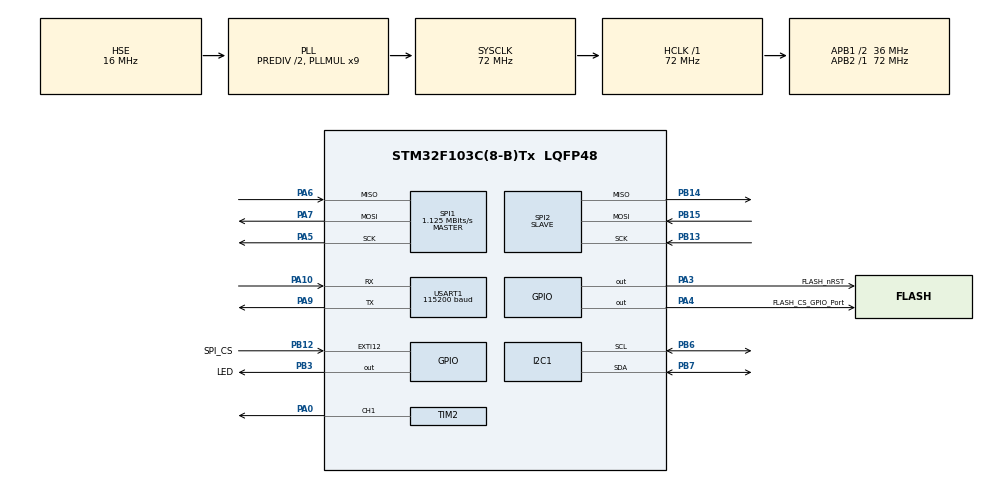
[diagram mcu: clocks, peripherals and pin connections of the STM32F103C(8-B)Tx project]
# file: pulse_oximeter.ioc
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Mcu.Family=STM32F1
Mcu.Name=STM32F103C(8-B)Tx
Mcu.Package=LQFP48
NVIC.EXTI15_10_IRQn=true\:1\:0\:true\:false\:true\:true\:true\:true
NVIC.PriorityGroup=NVIC_PRIORITYGROUP_4
NVIC.SPI2_IRQn=true\:1\:0\:true\:false\:true\:true\:true\:true
NVIC.TIM4_IRQn=true\:4\:0\:true\:false\:true\:true\:true\:true
NVIC.USART1_IRQn=true\:6\:0\:true\:false\:true\:true\:true\:true
PA0-WKUP.Signal=S_TIM2_CH1_ETR
PA10.Mode=Asynchronous
PA10.Signal=USART1_RX
PA13.Mode=Serial_Wire
PA13.Signal=SYS_JTMS-SWDIO
PA14.Mode=Serial_Wire
PA14.Signal=SYS_JTCK-SWCLK
PA3.GPIO_Label=FLASH_nRST
PA3.Signal=GPIO_Output
PA4.GPIO_Label=FLASH_CS_GPIO_Port
PA4.Signal=GPIO_Output
PA5.Mode=Full_Duplex_Master
PA5.Signal=SPI1_SCK
PA6.Mode=Full_Duplex_Master
PA6.Signal=SPI1_MISO
PA7.Mode=Full_Duplex_Master
PA7.Signal=SPI1_MOSI
PA9.Mode=Asynchronous
PA9.Signal=USART1_TX
PB12.GPIO_Label=SPI_CS
PB12.GPIO_ModeDefaultEXTI=GPIO_MODE_IT_RISING_FALLING
PB12.Signal=GPXTI12
PB13.Mode=Full_Duplex_Slave
PB13.Signal=SPI2_SCK
PB14.Mode=Full_Duplex_Slave
PB14.Signal=SPI2_MISO
PB15.Mode=Full_Duplex_Slave
PB15.Signal=SPI2_MOSI
PB3.GPIO_Label=LED
PB3.Signal=GPIO_Output
PB6.Mode=I2C
PB6.Signal=I2C1_SCL
PB7.Mode=I2C
PB7.Signal=I2C1_SDA
PD0-OSC_IN.Mode=HSE-External-Oscillator
PD0-OSC_IN.Signal=RCC_OSC_IN
PD1-OSC_OUT.Mode=HSE-External-Oscillator
PD1-OSC_OUT.Signal=RCC_OSC_OUT
ProjectManager.HeapSize=0x200
ProjectManager.StackSize=0x400
ProjectManager.TargetToolchain=STM32CubeIDE
RCC.ADCPresc=RCC_ADCPCLK2_DIV6
RCC.AHBFreq_Value=72000000
RCC.APB1CLKDivider=RCC_HCLK_DIV2
RCC.APB1Freq_Value=36000000
RCC.APB1TimFreq_Value=72000000
RCC.APB2Freq_Value=72000000
RCC.APB2TimFreq_Value=72000000
RCC.HCLKFreq_Value=72000000
RCC.HSEDivPLL=RCC_HSE_PREDIV_DIV2
RCC.HSE_VALUE=16000000
RCC.PLLMUL=RCC_PLL_MUL9
RCC.PLLSourceVirtual=RCC_PLLSOURCE_HSE
RCC.SYSCLKFreq_VALUE=72000000
RCC.SYSCLKSource=RCC_SYSCLKSOURCE_PLLCLK
RCC.USBFreq_Value=72000000
SH.S_TIM2_CH1_ETR.0=TIM2_CH1,PWM Generation1 CH1
SPI1.BaudRatePrescaler=SPI_BAUDRATEPRESCALER_64
SPI1.CalculateBaudRate=1.125 MBits/s
SPI1.Direction=SPI_DIRECTION_2LINES
SPI1.Mode=SPI_MODE_MASTER
SPI1.VirtualType=VM_MASTER
SPI2.Direction=SPI_DIRECTION_2LINES
SPI2.Mode=SPI_MODE_SLAVE
SPI2.VirtualType=VM_SLAVE
TIM2.Channel-PWM\ Generation1\ CH1=TIM_CHANNEL_1
TIM2.OCPolarity_1=TIM_OCPOLARITY_LOW
TIM2.Period=501
TIM2.Prescaler=72
TIM2.Pulse-PWM\ Generation1\ CH1=1
TIM3.Period=5
TIM3.Prescaler=48000
TIM3.TIM_MasterOutputTrigger=TIM_TRGO_OC1
TIM4.Period=20000
TIM4.Prescaler=7200
USART1.BaudRate=115200
USART1.VirtualMode=VM_ASYNC
VP_TIM2_VS_ClockSourceINT.Mode=Internal
VP_TIM2_VS_OPM.Mode=OPM_bit
VP_TIM3_VS_ClockSourceINT.Mode=Internal
VP_TIM4_VS_ClockSourceINT.Mode=Internal
board=custom

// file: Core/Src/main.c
/* USER CODE BEGIN Header */
/**
  ******************************************************************************
  * @file           : main.c
  * @brief          : Main program body
  ******************************************************************************
  * @attention
  *
  * Copyright (c) 2026 STMicroelectronics.
  * All rights reserved.
  *
  * This software is licensed under terms that can be found in the LICENSE file
  * in the root directory of this software component.
  * If no LICENSE file comes with this software, it is provided AS-IS.
  *
  ******************************************************************************
  */
/* USER CODE END Header */
#include "main.h"

/* USER CODE BEGIN Includes */
#include "spo2_algorithm.h"
#include "SPI_connection.h"
#include "protocol_parser.h"
#include "w25q_spi.h"
#include "stdio.h"
#include "Common.h"
#include <string.h>
#include <stdbool.h>
/* USER CODE END Includes */

I2C_HandleTypeDef hi2c1;

SPI_HandleTypeDef hspi1;
SPI_HandleTypeDef hspi2;

TIM_HandleTypeDef htim2;
TIM_HandleTypeDef htim3;
TIM_HandleTypeDef htim4;

UART_HandleTypeDef huart1;

/* USER CODE BEGIN PV */

uint32_t ir_out[100];	// буфер значений �?К-канала
uint32_t red_out[100];	// буфер значений канала красного светодиода
bool tim4_ovflw = 0;	// флаг переполнения таймера

int8_t cnt1,cnt2 = 0;	// счетчики вызовов (для отладки)
max30102_t max30102;	// объект структуры для работы с микросхемой

// переменные результата расчета сатурации
int8_t spo2_valid = 0, heart_rate_valid = 0; 		// признаки корректности полученных расчетов сатурации и ЧСС
int32_t buf_len = 100, spo2 = 0, heart_rate = 0; 	// значения сатурации и ЧСС

/* W25Q variables */
uint8_t data_buf[256];				// буфер с данными
volatile uint16_t page_ptr = 0;		// указатель номера страницы флеш-памяти в которую идет запись
uint8_t page_pos_ptr = 0;			// указатель позиции в странице флеш-памяти, в которую будет выполнена запись
extern w25_info_t w25_info;

/* USER CODE END PV */

void SystemClock_Config(void);
static void MX_GPIO_Init(void);
static void MX_SPI2_Init(void);
static void MX_USART1_UART_Init(void);
static void MX_SPI1_Init(void);
static void MX_TIM3_Init(void);
static void MX_I2C1_Init(void);
static void MX_TIM4_Init(void);
static void MX_TIM2_Init(void);

/* USER CODE BEGIN 0 */
void writeDataToFlash(int32_t spo2) {
	static union
	{
		uint16_t word;
		uint8_t bytes[2];
	} result_data;

	result_data.word = (uint16_t)(spo2*100.0);
	W25_Write_Page(result_data.bytes, page_ptr, page_pos_ptr*2, 2); //save 2 bytes to flash
	page_pos_ptr++;
	if (page_pos_ptr == 127) //page is full
	{
		page_ptr++;
		page_pos_ptr = 0;
	}
	HAL_GPIO_TogglePin(GPIOA, GPIO_PIN_2);
	return;
}
/* USER CODE END 0 */

int main(void)
{

  /* MCU Configuration--------------------------------------------------------*/

  /* Reset of all peripherals, Initializes the Flash interface and the Systick. */
  HAL_Init();

  /* Configure the system clock */
  SystemClock_Config();

  /* Initialize all configured peripherals */
  MX_GPIO_Init();
  MX_SPI2_Init();
  MX_USART1_UART_Init();
  MX_SPI1_Init();
  MX_TIM3_Init();
  MX_I2C1_Init();
  MX_TIM4_Init();
  MX_TIM2_Init();
  /* USER CODE BEGIN 2 */

  sensorInit();

  /* USER CODE END 2 */

  /* Infinite loop */
  /* USER CODE BEGIN WHILE */
  while (1)
  {
	  if (spi_rx_complete) {
		  spi_rx_complete = false;
		  parserFSM();
	  }
/*
	  if (tim4_ovflw) {
		  __HAL_TIM_SET_COUNTER(&htim4, 0);
		 tim4_ovflw = 0;
		 spo2 = 100;
		 writeDataToFlash(spo2);

	  }
	 */

	if (tim4_ovflw) {
		// сброс таймера
		 __HAL_TIM_SET_COUNTER(&htim4, 0);
		 tim4_ovflw = 0;

		 // Опрос регистров прерываний и считывание данных с датчика в буферы,
		 // где они накапливаются для дальнейшей их обработки
		 max30102_interrupt_handler(&max30102);

		 if (max30102_check_ready_data(&max30102)) { // если данные готовы для их анализа
			 // получение готовых данных для анализа
			 max30102_get_samples_for_processing(&max30102, ir_out, red_out);

			 if(calc_end) {
				 // выполнение расчета сатурации
				 maxim_heart_rate_and_oxygen_saturation(ir_out, buf_len, red_out, &spo2, &spo2_valid, &heart_rate, &heart_rate_valid);

				 // проверка на корректность значения сатурации
				 if (spo2_valid && (spo2 <= 100 && spo2 >=70)) {
					 // запись во флеш корректного значения
					 writeDataToFlash(spo2);
				 }
			 }
		 }
	 }

    /* USER CODE END WHILE */

  }
}

void SystemClock_Config(void)
{
  RCC_OscInitTypeDef RCC_OscInitStruct = {0};
  RCC_ClkInitTypeDef RCC_ClkInitStruct = {0};

  /** Initializes the RCC Oscillators according to the specified parameters
  * in the RCC_OscInitTypeDef structure.
  */
  RCC_OscInitStruct.OscillatorType = RCC_OSCILLATORTYPE_HSE;
  RCC_OscInitStruct.HSEState = RCC_HSE_ON;
  RCC_OscInitStruct.HSEPredivValue = RCC_HSE_PREDIV_DIV2;
  RCC_OscInitStruct.HSIState = RCC_HSI_ON;
  RCC_OscInitStruct.PLL.PLLState = RCC_PLL_ON;
  RCC_OscInitStruct.PLL.PLLSource = RCC_PLLSOURCE_HSE;
  RCC_OscInitStruct.PLL.PLLMUL = RCC_PLL_MUL9;
  if (HAL_RCC_OscConfig(&RCC_OscInitStruct) != HAL_OK)
  {
    Error_Handler();
  }

  /** Initializes the CPU, AHB and APB buses clocks
  */
  RCC_ClkInitStruct.ClockType = RCC_CLOCKTYPE_HCLK|RCC_CLOCKTYPE_SYSCLK
                              |RCC_CLOCKTYPE_PCLK1|RCC_CLOCKTYPE_PCLK2;
  RCC_ClkInitStruct.SYSCLKSource = RCC_SYSCLKSOURCE_PLLCLK;
  RCC_ClkInitStruct.AHBCLKDivider = RCC_SYSCLK_DIV1;
  RCC_ClkInitStruct.APB1CLKDivider = RCC_HCLK_DIV2;
  RCC_ClkInitStruct.APB2CLKDivider = RCC_HCLK_DIV1;

  if (HAL_RCC_ClockConfig(&RCC_ClkInitStruct, FLASH_LATENCY_2) != HAL_OK)
  {
    Error_Handler();
  }
}

static void MX_I2C1_Init(void)
{

  hi2c1.Instance = I2C1;
  hi2c1.Init.ClockSpeed = 100000;
  hi2c1.Init.DutyCycle = I2C_DUTYCYCLE_2;
  hi2c1.Init.OwnAddress1 = 0;
  hi2c1.Init.AddressingMode = I2C_ADDRESSINGMODE_7BIT;
  hi2c1.Init.DualAddressMode = I2C_DUALADDRESS_DISABLE;
  hi2c1.Init.OwnAddress2 = 0;
  hi2c1.Init.GeneralCallMode = I2C_GENERALCALL_DISABLE;
  hi2c1.Init.NoStretchMode = I2C_NOSTRETCH_DISABLE;
  if (HAL_I2C_Init(&hi2c1) != HAL_OK)
  {
    Error_Handler();
  }

}

static void MX_SPI1_Init(void)
{

  /* SPI1 parameter configuration*/
  hspi1.Instance = SPI1;
  hspi1.Init.Mode = SPI_MODE_MASTER;
  hspi1.Init.Direction = SPI_DIRECTION_2LINES;
  hspi1.Init.DataSize = SPI_DATASIZE_8BIT;
  hspi1.Init.CLKPolarity = SPI_POLARITY_LOW;
  hspi1.Init.CLKPhase = SPI_PHASE_1EDGE;
  hspi1.Init.NSS = SPI_NSS_SOFT;
  hspi1.Init.BaudRatePrescaler = SPI_BAUDRATEPRESCALER_64;
  hspi1.Init.FirstBit = SPI_FIRSTBIT_MSB;
  hspi1.Init.TIMode = SPI_TIMODE_DISABLE;
  hspi1.Init.CRCCalculation = SPI_CRCCALCULATION_DISABLE;
  hspi1.Init.CRCPolynomial = 10;
  if (HAL_SPI_Init(&hspi1) != HAL_OK)
  {
    Error_Handler();
  }

}

static void MX_SPI2_Init(void)
{

  /* SPI2 parameter configuration*/
  hspi2.Instance = SPI2;
  hspi2.Init.Mode = SPI_MODE_SLAVE;
  hspi2.Init.Direction = SPI_DIRECTION_2LINES;
  hspi2.Init.DataSize = SPI_DATASIZE_8BIT;
  hspi2.Init.CLKPolarity = SPI_POLARITY_LOW;
  hspi2.Init.CLKPhase = SPI_PHASE_1EDGE;
  hspi2.Init.NSS = SPI_NSS_SOFT;
  hspi2.Init.FirstBit = SPI_FIRSTBIT_MSB;
  hspi2.Init.TIMode = SPI_TIMODE_DISABLE;
  hspi2.Init.CRCCalculation = SPI_CRCCALCULATION_DISABLE;
  hspi2.Init.CRCPolynomial = 10;
  if (HAL_SPI_Init(&hspi2) != HAL_OK)
  {
    Error_Handler();
  }

}

static void MX_TIM2_Init(void)
{

  TIM_ClockConfigTypeDef sClockSourceConfig = {0};
  TIM_MasterConfigTypeDef sMasterConfig = {0};
  TIM_OC_InitTypeDef sConfigOC = {0};

  htim2.Instance = TIM2;
  htim2.Init.Prescaler = 72;
  htim2.Init.CounterMode = TIM_COUNTERMODE_UP;
  htim2.Init.Period = 501;
  htim2.Init.ClockDivision = TIM_CLOCKDIVISION_DIV1;
  htim2.Init.AutoReloadPreload = TIM_AUTORELOAD_PRELOAD_DISABLE;
  if (HAL_TIM_Base_Init(&htim2) != HAL_OK)
  {
    Error_Handler();
  }
  sClockSourceConfig.ClockSource = TIM_CLOCKSOURCE_INTERNAL;
  if (HAL_TIM_ConfigClockSource(&htim2, &sClockSourceConfig) != HAL_OK)
  {
    Error_Handler();
  }
  if (HAL_TIM_PWM_Init(&htim2) != HAL_OK)
  {
    Error_Handler();
  }
  if (HAL_TIM_OnePulse_Init(&htim2, TIM_OPMODE_SINGLE) != HAL_OK)
  {
    Error_Handler();
  }
  sMasterConfig.MasterOutputTrigger = TIM_TRGO_RESET;
  sMasterConfig.MasterSlaveMode = TIM_MASTERSLAVEMODE_DISABLE;
  if (HAL_TIMEx_MasterConfigSynchronization(&htim2, &sMasterConfig) != HAL_OK)
  {
    Error_Handler();
  }
  sConfigOC.OCMode = TIM_OCMODE_PWM1;
  sConfigOC.Pulse = 1;
  sConfigOC.OCPolarity = TIM_OCPOLARITY_LOW;
  sConfigOC.OCFastMode = TIM_OCFAST_DISABLE;
  if (HAL_TIM_PWM_ConfigChannel(&htim2, &sConfigOC, TIM_CHANNEL_1) != HAL_OK)
  {
    Error_Handler();
  }
  HAL_TIM_MspPostInit(&htim2);

}

static void MX_TIM3_Init(void)
{

  TIM_ClockConfigTypeDef sClockSourceConfig = {0};
  TIM_MasterConfigTypeDef sMasterConfig = {0};

  htim3.Instance = TIM3;
  htim3.Init.Prescaler = 48000;
  htim3.Init.CounterMode = TIM_COUNTERMODE_UP;
  htim3.Init.Period = 5;
  htim3.Init.ClockDivision = TIM_CLOCKDIVISION_DIV1;
  htim3.Init.AutoReloadPreload = TIM_AUTORELOAD_PRELOAD_DISABLE;
  if (HAL_TIM_Base_Init(&htim3) != HAL_OK)
  {
    Error_Handler();
  }
  sClockSourceConfig.ClockSource = TIM_CLOCKSOURCE_INTERNAL;
  if (HAL_TIM_ConfigClockSource(&htim3, &sClockSourceConfig) != HAL_OK)
  {
    Error_Handler();
  }
  sMasterConfig.MasterOutputTrigger = TIM_TRGO_OC1;
  sMasterConfig.MasterSlaveMode = TIM_MASTERSLAVEMODE_DISABLE;
  if (HAL_TIMEx_MasterConfigSynchronization(&htim3, &sMasterConfig) != HAL_OK)
  {
    Error_Handler();
  }

}

static void MX_TIM4_Init(void)
{

  TIM_ClockConfigTypeDef sClockSourceConfig = {0};
  TIM_MasterConfigTypeDef sMasterConfig = {0};

  htim4.Instance = TIM4;
  htim4.Init.Prescaler = 7200;
  htim4.Init.CounterMode = TIM_COUNTERMODE_UP;
  htim4.Init.Period = 20000;
  htim4.Init.ClockDivision = TIM_CLOCKDIVISION_DIV1;
  htim4.Init.AutoReloadPreload = TIM_AUTORELOAD_PRELOAD_DISABLE;
  if (HAL_TIM_Base_Init(&htim4) != HAL_OK)
  {
    Error_Handler();
  }
  sClockSourceConfig.ClockSource = TIM_CLOCKSOURCE_INTERNAL;
  if (HAL_TIM_ConfigClockSource(&htim4, &sClockSourceConfig) != HAL_OK)
  {
    Error_Handler();
  }
  sMasterConfig.MasterOutputTrigger = TIM_TRGO_RESET;
  sMasterConfig.MasterSlaveMode = TIM_MASTERSLAVEMODE_DISABLE;
  if (HAL_TIMEx_MasterConfigSynchronization(&htim4, &sMasterConfig) != HAL_OK)
  {
    Error_Handler();
  }

}

static void MX_USART1_UART_Init(void)
{

  huart1.Instance = USART1;
  huart1.Init.BaudRate = 115200;
  huart1.Init.WordLength = UART_WORDLENGTH_8B;
  huart1.Init.StopBits = UART_STOPBITS_1;
  huart1.Init.Parity = UART_PARITY_NONE;
  huart1.Init.Mode = UART_MODE_TX_RX;
  huart1.Init.HwFlowCtl = UART_HWCONTROL_NONE;
  huart1.Init.OverSampling = UART_OVERSAMPLING_16;
  if (HAL_UART_Init(&huart1) != HAL_OK)
  {
    Error_Handler();
  }

}

static void MX_GPIO_Init(void)
{
  GPIO_InitTypeDef GPIO_InitStruct = {0};

  /* GPIO Ports Clock Enable */
  __HAL_RCC_GPIOD_CLK_ENABLE();
  __HAL_RCC_GPIOA_CLK_ENABLE();
  __HAL_RCC_GPIOB_CLK_ENABLE();

  /*Configure GPIO pin Output Level */
  HAL_GPIO_WritePin(GPIOA, FLASH_nRST_Pin|FLASH_CS_GPIO_Port_Pin, GPIO_PIN_RESET);

  /*Configure GPIO pin Output Level */
  HAL_GPIO_WritePin(LED_GPIO_Port, LED_Pin, GPIO_PIN_RESET);

  /*Configure GPIO pins : FLASH_nRST_Pin FLASH_CS_GPIO_Port_Pin */
  GPIO_InitStruct.Pin = FLASH_nRST_Pin|FLASH_CS_GPIO_Port_Pin;
  GPIO_InitStruct.Mode = GPIO_MODE_OUTPUT_PP;
  GPIO_InitStruct.Pull = GPIO_NOPULL;
  GPIO_InitStruct.Speed = GPIO_SPEED_FREQ_LOW;
  HAL_GPIO_Init(GPIOA, &GPIO_InitStruct);

  /*Configure GPIO pin : SPI_CS_Pin */
  GPIO_InitStruct.Pin = SPI_CS_Pin;
  GPIO_InitStruct.Mode = GPIO_MODE_IT_RISING_FALLING;
  GPIO_InitStruct.Pull = GPIO_NOPULL;
  HAL_GPIO_Init(SPI_CS_GPIO_Port, &GPIO_InitStruct);

  /*Configure GPIO pin : LED_Pin */
  GPIO_InitStruct.Pin = LED_Pin;
  GPIO_InitStruct.Mode = GPIO_MODE_OUTPUT_PP;
  GPIO_InitStruct.Pull = GPIO_NOPULL;
  GPIO_InitStruct.Speed = GPIO_SPEED_FREQ_LOW;
  HAL_GPIO_Init(LED_GPIO_Port, &GPIO_InitStruct);

  /* EXTI interrupt init*/
  HAL_NVIC_SetPriority(EXTI15_10_IRQn, 1, 0);
  HAL_NVIC_EnableIRQ(EXTI15_10_IRQn);

}

void Error_Handler(void)
{
  __disable_irq();
  while (1)
  {
  }
}
